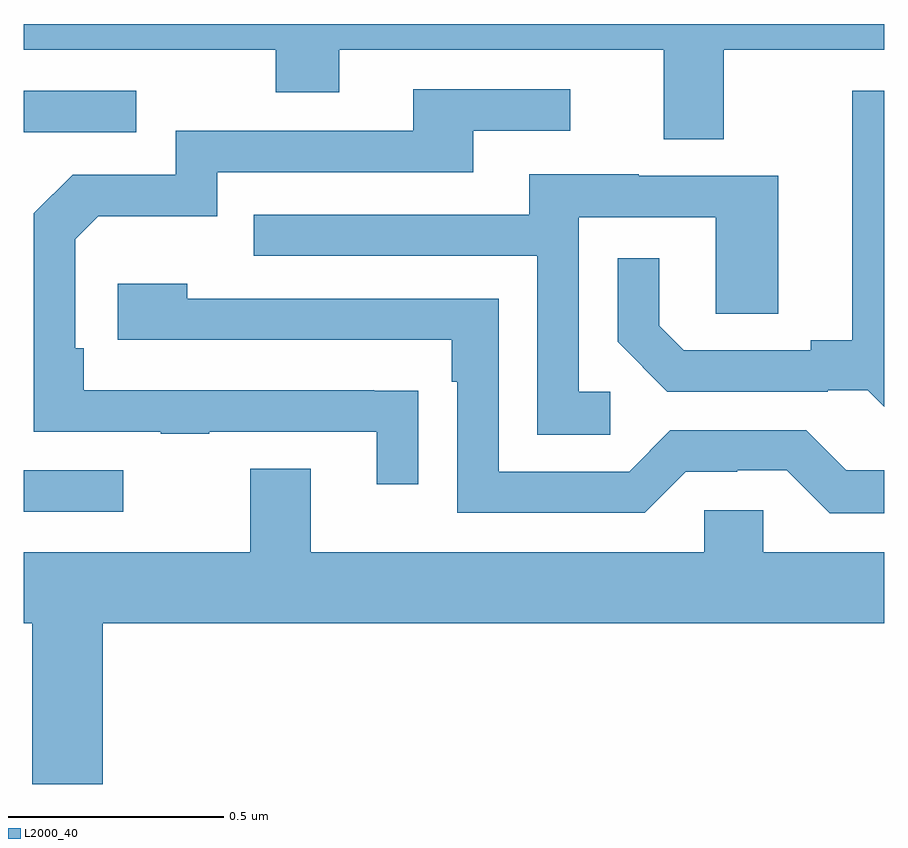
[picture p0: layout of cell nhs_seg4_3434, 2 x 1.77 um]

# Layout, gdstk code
import gdstk
lib = gdstk.Library(unit=1e-6, precision=1e-09)
def R(c, l, rs):  # rectangles x0, y0, x1, y1
    for r in rs: c.add(gdstk.rectangle(r[:2], r[2:], *l))
def P(c, l, *ps):  # polygons
    for p in ps: c.add(gdstk.Polygon(p, *l))
L2000_40 = (2000, 40)

nhs_seg4_3434 = lib.new_cell('nhs_seg4_3434')
R(nhs_seg4_3434, L2000_40, [(153,775.767,153.232,775.863), (153,776.649,153.262,776.745)])
P(nhs_seg4_3434, L2000_40, [(154.627,776.84),(155,776.84),(155,776.9),(153,776.9),(153,776.84),(153.586,776.84),(153.586,776.741),(153.733,776.741),(153.733,776.84),(154.487,776.84),(154.487,776.632),(154.627,776.632)],
  [(153.917,776.048),(153.815,776.048),(153.815,776.049),(153.14,776.049),(153.14,776.146),(153.12,776.146),(153.12,776.4),(153.173,776.453),(153.45,776.453),(153.45,776.556),(154.045,776.556),(154.045,776.652),(154.27,776.652),(154.27,776.748),(153.905,776.748),(153.905,776.652),(153.354,776.652),(153.354,776.55),(153.114,776.55),(153.024,776.46),(153.024,775.953),(153.319,775.953),(153.319,775.948),(153.431,775.948),(153.431,775.953),(153.821,775.953),(153.821,775.83),(153.917,775.83)],
  [(155,776.745),(154.925,776.745),(154.925,776.165),(154.829,776.165),(154.829,776.142),(154.534,776.142),(154.477,776.199),(154.477,776.356),(154.38,776.356),(154.38,776.162),(154.496,776.046),(154.868,776.046),(154.868,776.049),(154.962,776.049),(155,776.011)],
  [(154.363,776.046),(154.29,776.046),(154.29,776.451),(154.608,776.451),(154.608,776.227),(154.753,776.227),(154.753,776.547),(154.429,776.547),(154.429,776.551),(154.175,776.551),(154.175,776.457),(153.535,776.457),(153.535,776.361),(154.194,776.361),(154.194,775.945),(154.363,775.945)],
  [(155,775.863),(154.911,775.863),(154.818,775.956),(154.503,775.956),(154.407,775.86),(154.104,775.86),(154.104,776.262),(153.38,776.262),(153.38,776.296),(153.219,776.296),(153.219,776.166),(153.995,776.166),(153.995,776.069),(154.008,776.069),(154.008,775.764),(154.443,775.764),(154.539,775.86),(154.658,775.86),(154.658,775.863),(154.773,775.863),(154.873,775.763),(155,775.763)],
  [(153.184,775.508),(155,775.508),(155,775.672),(154.719,775.672),(154.719,775.77),(154.581,775.77),(154.581,775.672),(153.667,775.672),(153.667,775.867),(153.527,775.867),(153.527,775.672),(153,775.672),(153,775.508),(153.02,775.508),(153.02,775.134),(153.184,775.134)])

lib.write_gds('nhs_seg4_3434.gds')
